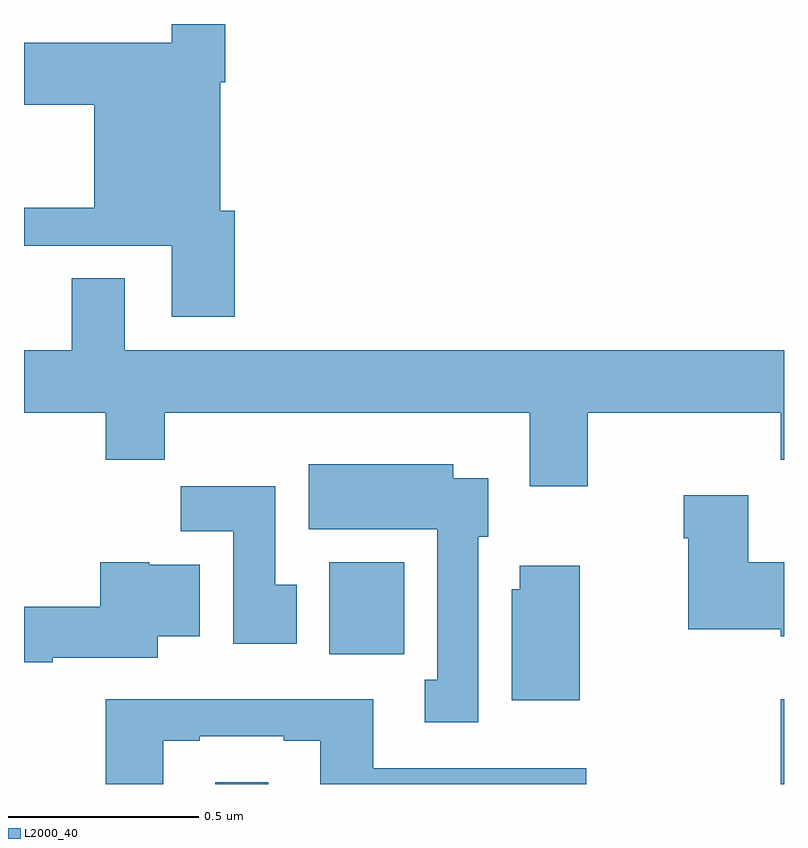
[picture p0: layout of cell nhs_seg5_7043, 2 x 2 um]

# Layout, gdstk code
import gdstk
lib = gdstk.Library(unit=1e-6, precision=1e-09)
def R(c, l, rs):  # rectangles x0, y0, x1, y1
    for r in rs: c.add(gdstk.rectangle(r[:2], r[2:], *l))
def P(c, l, *ps):  # polygons
    for p in ps: c.add(gdstk.Polygon(p, *l))
L2000_40 = (2000, 40)

nhs_seg5_7043 = lib.new_cell('nhs_seg5_7043')
R(nhs_seg5_7043, L2000_40, [(204.503,839.799,204.643,839.803), (205.991,839.799,206,840.022), (204.803,840.14,205,840.382)])
P(nhs_seg5_7043, L2000_40, [(204.554,841.308),(204.517,841.308),(204.517,841.646),(204.53,841.646),(204.53,841.799),(204.389,841.799),(204.389,841.75),(204,841.75),(204,841.586),(204.185,841.586),(204.185,841.316),(204,841.316),(204,841.215),(204.389,841.215),(204.389,841.029),(204.554,841.029)],
  [(205.484,840.776),(205.991,840.776),(205.991,840.652),(206,840.652),(206,840.94),(204.265,840.94),(204.265,841.13),(204.125,841.13),(204.125,840.94),(204,840.94),(204,840.776),(204.215,840.776),(204.215,840.652),(204.371,840.652),(204.371,840.776),(205.331,840.776),(205.331,840.582),(205.484,840.582)],
  [(205.195,840.45),(205.222,840.45),(205.222,840.604),(205.129,840.604),(205.129,840.64),(204.749,840.64),(204.749,840.47),(205.088,840.47),(205.088,840.074),(205.055,840.074),(205.055,839.961),(205.195,839.961)],
  [(204.718,840.324),(204.661,840.324),(204.661,840.582),(204.412,840.582),(204.412,840.464),(204.551,840.464),(204.551,840.168),(204.718,840.168)],
  [(206,840.382),(205.906,840.382),(205.906,840.559),(205.736,840.559),(205.736,840.446),(205.748,840.446),(205.748,840.206),(205.992,840.206),(205.992,840.188),(206,840.188)],
  [(204.076,840.131),(204.352,840.131),(204.352,840.188),(204.463,840.188),(204.463,840.376),(204.33,840.376),(204.33,840.382),(204.2,840.382),(204.2,840.266),(204,840.266),(204,840.119),(204.076,840.119)],
  [(205.462,840.373),(205.304,840.373),(205.304,840.312),(205.283,840.312),(205.283,840.02),(205.462,840.02)],
  [(204.367,839.913),(204.463,839.913),(204.463,839.925),(204.683,839.925),(204.683,839.913),(204.779,839.913),(204.779,839.799),(205.48,839.799),(205.48,839.841),(204.919,839.841),(204.919,840.022),(204.215,840.022),(204.215,839.799),(204.367,839.799)])

lib.write_gds('nhs_seg5_7043.gds')
